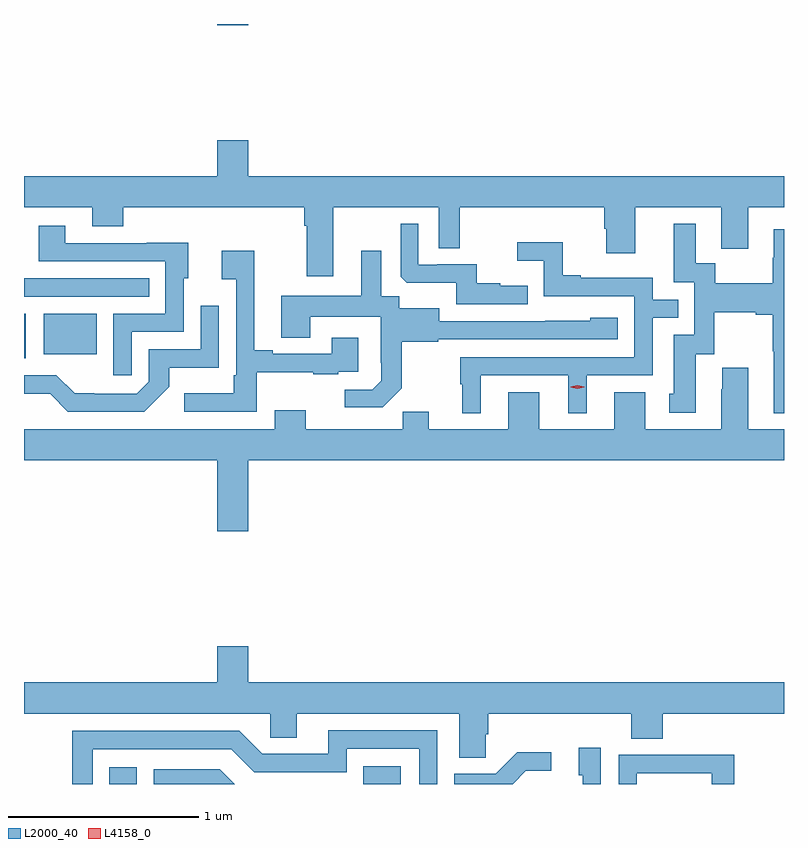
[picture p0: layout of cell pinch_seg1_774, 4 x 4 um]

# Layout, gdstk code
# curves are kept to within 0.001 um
import gdstk
lib = gdstk.Library(unit=1e-6, precision=1e-09)
def R(c, l, rs):  # rectangles x0, y0, x1, y1
    for r in rs: c.add(gdstk.rectangle(r[:2], r[2:], *l))
def P(c, l, *ps):  # polygons
    for p in ps: c.add(gdstk.Polygon(p, *l))
L2000_40 = (2000, 40)
L4158_0 = (4158, 0)

pinch_seg1_774 = lib.new_cell('pinch_seg1_774')
R(pinch_seg1_774, L2000_40, [(560.044,568.677,560.19,568.765), (561.382,568.677,561.58,568.771), (559.596,570.917,559.606,571.153), (559.7,570.938,559.978,571.153), (559.596,571.242,560.255,571.338), (560.612,572.67,560.776,572.677)])
P(pinch_seg1_774, L2000_40, [(561.223,571.712),(561.78,571.712),(561.78,571.498),(561.889,571.498),(561.889,571.712),(562.649,571.712),(562.649,571.599),(562.661,571.599),(562.661,571.47),(562.813,571.47),(562.813,571.712),(563.267,571.712),(563.267,571.494),(563.407,571.494),(563.407,571.712),(563.596,571.712),(563.596,571.876),(560.776,571.876),(560.776,572.065),(560.612,572.065),(560.612,571.876),(559.596,571.876),(559.596,571.712),(559.955,571.712),(559.955,571.613),(560.119,571.613),(560.119,571.712),(561.071,571.712),(561.071,571.616),(561.083,571.616),(561.083,571.35),(561.223,571.35)],
  [(562.247,571.3),(562.103,571.3),(562.103,571.312),(561.98,571.312),(561.98,571.413),(561.772,571.413),(561.772,571.41),(561.672,571.41),(561.672,571.627),(561.579,571.627),(561.579,571.347),(561.611,571.316),(561.87,571.316),(561.87,571.203),(562.247,571.203)],
  [(563.596,571.597),(563.543,571.597),(563.543,571.446),(563.536,571.446),(563.536,571.312),(563.233,571.312),(563.233,571.418),(563.131,571.418),(563.131,571.627),(563.015,571.627),(563.015,571.317),(563.124,571.317),(563.124,571.041),(563.015,571.041),(563.015,570.732),(562.991,570.732),(562.991,570.63),(563.131,570.63),(563.131,570.938),(563.229,570.938),(563.229,571.16),(563.447,571.16),(563.447,571.148),(563.536,571.148),(563.536,570.955),(563.543,570.955),(563.543,570.629),(563.596,570.629)],
  [(560.163,571.056),(560.436,571.056),(560.436,571.338),(560.461,571.338),(560.461,571.526),(560.243,571.526),(560.243,571.524),(559.813,571.524),(559.813,571.615),(559.673,571.615),(559.673,571.428),(560.34,571.428),(560.34,571.152),(560.067,571.152),(560.067,570.828),(560.163,570.828)],
  [(562,570.828),(562.46,570.828),(562.46,570.629),(562.558,570.629),(562.558,570.828),(562.905,570.828),(562.905,571.131),(563.039,571.131),(563.039,571.227),(562.905,571.227),(562.905,571.341),(562.525,571.341),(562.525,571.354),(562.431,571.354),(562.431,571.529),(562.191,571.529),(562.191,571.43),(562.332,571.43),(562.332,571.245),(562.809,571.245),(562.809,570.924),(561.891,570.924),(561.891,570.78),(561.902,570.78),(561.902,570.629),(562,570.629)],
  [(561.585,570.759),(561.585,571.005),(561.777,571.005),(561.777,571.017),(562.72,571.017),(562.72,571.132),(562.575,571.132),(562.575,571.114),(561.781,571.113),(561.781,571.18),(561.57,571.18),(561.57,571.244),(561.475,571.244),(561.475,571.483),(561.371,571.483),(561.371,571.246),(560.951,571.246),(560.951,571.027),(561.103,571.027),(561.103,571.136),(561.474,571.136),(561.474,570.895),(561.476,570.895),(561.476,570.8),(561.429,570.753),(561.285,570.753),(561.285,570.659),(561.485,570.659)],
  [(560.821,570.845),(561.119,570.845),(561.119,570.834),(561.251,570.834),(561.251,570.846),(561.355,570.846),(561.355,571.027),(561.215,571.027),(561.215,570.942),(560.905,570.942),(560.905,570.961),(560.809,570.961),(560.809,571.483),(560.637,571.483),(560.637,571.334),(560.712,571.334),(560.712,570.829),(560.7,570.829),(560.7,570.733),(560.439,570.733),(560.439,570.636),(560.821,570.636)],
  [(560.361,570.767),(560.361,570.869),(560.622,570.869),(560.622,571.195),(560.526,571.195),(560.526,570.966),(560.253,570.966),(560.253,570.795),(560.19,570.732),(559.966,570.732),(559.966,570.734),(559.862,570.734),(559.767,570.828),(559.596,570.828),(559.596,570.731),(559.733,570.731),(559.827,570.636),(560.23,570.636)],
  [(560.776,570.38),(563.596,570.38),(563.596,570.544),(563.407,570.544),(563.407,570.868),(563.27,570.868),(563.27,570.755),(563.267,570.755),(563.267,570.544),(562.867,570.544),(562.867,570.739),(562.703,570.739),(562.703,570.544),(562.309,570.544),(562.309,570.739),(562.145,570.739),(562.145,570.544),(561.727,570.544),(561.727,570.635),(561.589,570.635),(561.589,570.544),(561.079,570.544),(561.079,570.643),(560.915,570.643),(560.915,570.544),(559.596,570.544),(559.596,570.38),(560.612,570.38),(560.612,570.006),(560.776,570.006)],
  [(562.026,568.939),(562.04,568.939),(562.04,569.048),(562.793,569.048),(562.793,568.915),(562.958,568.915),(562.958,569.048),(563.596,569.048),(563.596,569.212),(560.776,569.212),(560.776,569.401),(560.612,569.401),(560.612,569.212),(559.596,569.212),(559.596,569.048),(560.892,569.048),(560.892,568.921),(561.031,568.921),(561.031,569.048),(561.887,569.048),(561.887,568.816),(562.026,568.816)],
  [(559.959,568.86),(560.688,568.86),(560.808,568.74),(561.294,568.74),(561.294,568.863),(561.675,568.863),(561.675,568.677),(561.771,568.677),(561.771,568.959),(561.197,568.959),(561.197,568.836),(560.85,568.836),(560.73,568.956),(559.851,568.956),(559.851,568.677),(559.959,568.677)],
  [(562.632,568.867),(562.517,568.867),(562.517,568.722),(562.536,568.722),(562.536,568.677),(562.632,568.677)],
  [(562.237,568.746),(562.372,568.746),(562.372,568.844),(562.193,568.844),(562.08,568.731),(561.861,568.731),(561.861,568.677),(562.168,568.677)],
  [(562.821,568.734),(563.217,568.734),(563.217,568.677),(563.333,568.677),(563.333,568.832),(563.041,568.832),(563.041,568.83),(562.725,568.83),(562.725,568.677),(562.821,568.677)],
  [(560.626,568.755),(560.28,568.755),(560.28,568.677),(560.704,568.677)])
P(pinch_seg1_774, L4158_0, [(562.509,570.757),(562.474,570.766),(562.473,570.767),(562.474,570.767),(562.509,570.777),(562.544,570.767),(562.545,570.767),(562.544,570.766)])

lib.write_gds('pinch_seg1_774.gds')
